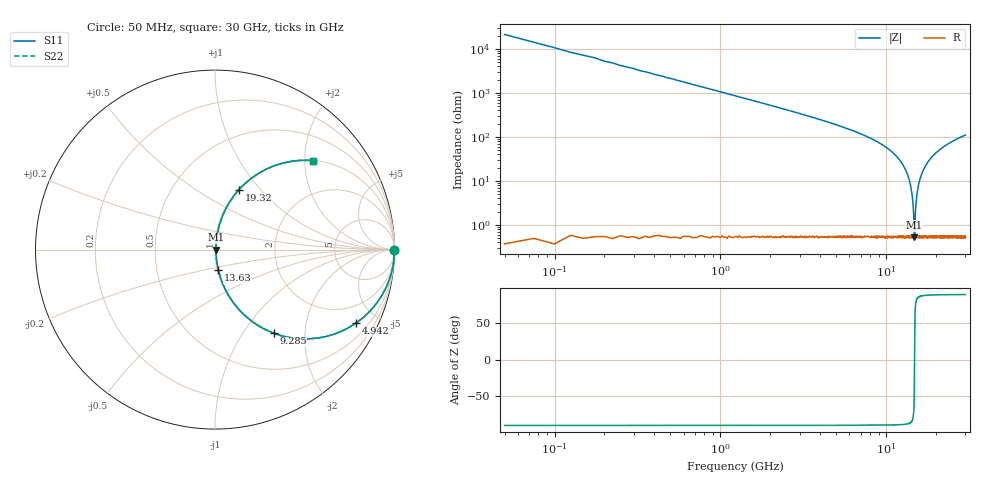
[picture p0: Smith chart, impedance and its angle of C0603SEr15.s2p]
!	AVX Thin Film Operation 	Date: April 2014
!	Description: Accu-P® Series, Thin Film  SMD RF Capacitor
!	Part Number: 06031JR15ZBSTR
# MHZ S MA R 50
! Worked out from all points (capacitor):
!   1201 points, 50 MHz to 30 GHz, reference 50 ohm
!   read as one part in series: C = 150 fF near 199.8 MHz
!   lowest |Z| = 518 mohm at 14.8 GHz (marker M1)
!   series resonance near 14.8 GHz, so ESL is about 770 pH
!   S11 on the Smith chart (normalised r, x): 50 MHz: open; 4.942 GHz: 1.01, -3.82; 9.285 GHz: 1.01, -1.39; 13.63 GHz: 1.01, -0.24; 19.32 GHz: 1.01, +0.77; 30 GHz: 1.01, +2.20
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50  1 -0.3  0.004712 89.7  0.004712 89.7  1 -0.3
249.667  1 -1.3  0.024 88.6  0.024 88.6  1 -1.3
424.375  0.999 -2.3  0.04 87.7  0.04 87.7  0.999 -2.3
1198.083  0.994 -6.5  0.113 83.5  0.113 83.5  0.994 -6.5
2595.75  0.969 -14.2  0.245 75.8  0.245 75.8  0.969 -14.2
4941.833  0.885 -27.6  0.464 62.2  0.464 62.2  0.885 -27.6
5041.667  0.88 -28.2  0.473 61.6  0.473 61.6  0.88 -28.2
9284.583  0.568 -55.0  0.819 34.6  0.819 34.6  0.568 -55.0
10058.29  0.492 -60.0  0.866 29.4  0.866 29.4  0.492 -60.0
12204.71  0.267 -73.4  0.959 15.5  0.959 15.5  0.267 -73.4
13627.33  0.117 -80.7  0.988 6.7  0.988 6.7  0.117 -80.7
14326.17  0.047 -80.8  0.994 2.7  0.994 2.7  0.047 -80.8
14800.38  0.005304 0.9  0.995 -0.0  0.995 -0.0  0.005304 0.9
14900.21  0.011 60.7  0.995 -0.6  0.995 -0.6  0.011 60.7
15025  0.022 75.0  0.994 -1.2  0.994 -1.2  0.022 75.0
15449.29  0.061 81.5  0.993 -3.5  0.993 -3.5  0.061 81.5
16223  0.13 80.2  0.986 -7.5  0.986 -7.5  0.13 80.2
17495.88  0.233 75.2  0.967 -13.5  0.967 -13.5  0.233 75.2
19317.83  0.359 68.2  0.928 -21.0  0.928 -21.0  0.359 68.2
20016.67  0.401 65.7  0.911 -23.6  0.911 -23.6  0.401 65.7
25033.29  0.617 51.5  0.783 -38.1  0.783 -38.1  0.617 51.5
30000  0.738 42.2  0.671 -47.6  0.671 -47.6  0.738 42.2
